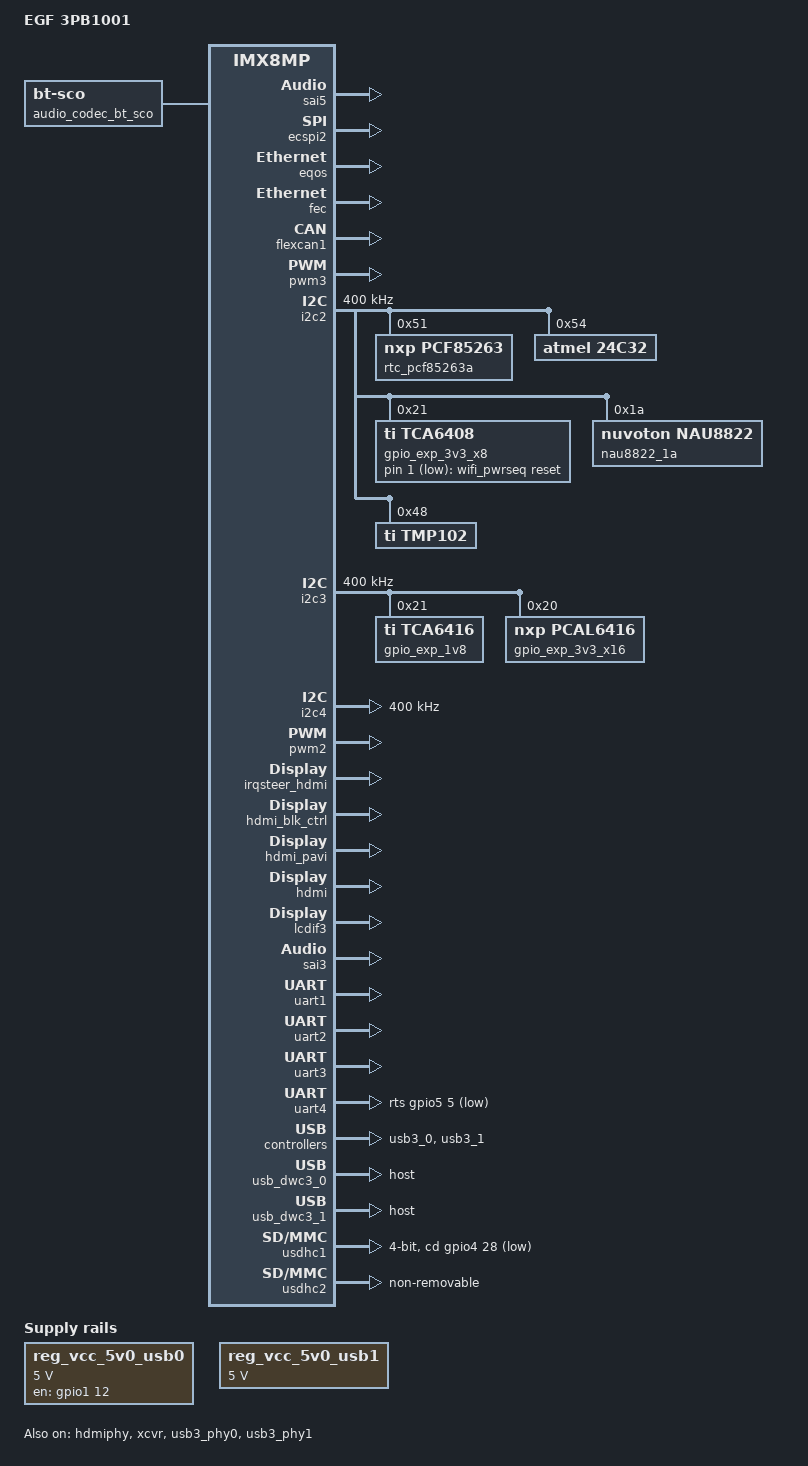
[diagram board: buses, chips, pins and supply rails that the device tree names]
// SPDX-License-Identifier: (GPL-2.0+ OR MIT)
/*
 * Copyright 2019 NXP
 */

 /dts-v1/;

 #include "imx8mp-egf-3sm1009.dtsi"
 
 / {
	 model = "EGF 3PB1001";


	reg_vcc_5v0_usb0: regulator-5v0-usb0 {
		compatible = "regulator-fixed";
		pinctrl-names = "default";
		pinctrl-0 = <&pinctrl_reg5v0_usb0>;
		regulator-name = "VCC_5V0_USB0";
		gpio = <&gpio1 12 GPIO_ACTIVE_HIGH>;
		regulator-min-microvolt = <5000000>;
		regulator-max-microvolt = <5000000>;
		enable-active-high;
	};
	
	reg_vcc_5v0_usb1: regulator-5v0-usb1 {
		compatible = "regulator-fixed";
		regulator-name = "VCC_5V0_USB1";
		regulator-min-microvolt = <5000000>;
		regulator-max-microvolt = <5000000>;
	};


	sound-hdmi {
		status = "okay";
	};

	sound-hdmi {
		compatible = "fsl,imx-audio-hdmi";
		model = "audio-hdmi";
		audio-cpu = <&aud2htx>;
		hdmi-out;
		constraint-rate = <44100>,
				<88200>,
				<176400>,
				<32000>,
				<48000>,
				<96000>,
				<192000>;
		status = "disabled";
	};


	sound-micfil {
		compatible = "fsl,imx-audio-micfil";
		model = "imx-audio-micfil";
		cpu-dai = <&micfil>;
	};

	sound-xcvr {
		compatible = "fsl,imx-audio-xcvr";
		model = "imx-audio-xcvr";
		cpu-dai = <&xcvr>;
	};


	sound {
		compatible = "simple-audio-card";
		simple-audio-card,bitclock-master = <&codec_dai>;
		simple-audio-card,format = "i2s";
		simple-audio-card,frame-master = <&codec_dai>;
		simple-audio-card,mclk-fs = <256>;
		simple-audio-card,name = "imx8mp-nau8822";
		simple-audio-card,routing =
			"Headphones", "LHP",
			"Headphones", "RHP",
			"Speaker", "LSPK",
			"Speaker", "RSPK",
			"Line Out", "AUXOUT1",
			"Line Out", "AUXOUT2",
			"LAUX", "Line In",
			"RAUX", "Line In",
			"LMICP", "Mic In",
			"RMICP", "Mic In";
		simple-audio-card,widgets =
			"Headphones", "Headphones",
			"Line Out", "Line Out",
			"Speaker", "Speaker",
			"Microphone", "Mic In",
			"Line", "Line In";

		codec_dai: simple-audio-card,codec {
			sound-dai = <&nau8822_1a>;
			clocks = <&audio_blk_ctrl IMX8MP_CLK_AUDIOMIX_SAI3_MCLK1>;
		};

		simple-audio-card,cpu {
			sound-dai = <&sai3>;
		};
					
	};
	
	// Audio I2S Modem
	// Codec "dummy"
	audio_codec_bt_sco: audio-codec-bt-sco {
		compatible = "linux,bt-sco";
		#sound-dai-cells = <1>;
	};

	sound-bt-sco {
		compatible = "simple-audio-card";
		simple-audio-card,name = "bt-sco-audio";
		simple-audio-card,format = "dsp_a";
		simple-audio-card,bitclock-inversion;
		simple-audio-card,frame-master = <&btcpu>;
		simple-audio-card,bitclock-master = <&btcpu>;

		btcpu: simple-audio-card,cpu {
			sound-dai = <&sai5>;
			dai-tdm-slot-num = <2>;
			dai-tdm-slot-width = <16>;
		};

		simple-audio-card,codec {
			sound-dai = <&audio_codec_bt_sco 1>;
		};
	};






	wifi_pwrseq: pwrseq {
		compatible = "mmc-pwrseq-simple";
		reset-gpios = <&gpio_exp_3v3_x8 1 GPIO_ACTIVE_LOW>;
	};



 };


 &sai5 {
	#sound-dai-cells = <0>;
	pinctrl-names = "default";
	pinctrl-0 = <&pinctrl_sai5>;
	assigned-clocks = <&clk IMX8MP_CLK_SAI5>;
	assigned-clock-parents = <&clk IMX8MP_AUDIO_PLL1_OUT>;
	assigned-clock-rates = <24576000>;
	clocks = <&audio_blk_ctrl IMX8MP_CLK_AUDIOMIX_SAI5_IPG>, <&clk IMX8MP_CLK_DUMMY>,
		<&audio_blk_ctrl IMX8MP_CLK_AUDIOMIX_SAI5_MCLK1>, <&clk IMX8MP_CLK_DUMMY>,
		<&clk IMX8MP_CLK_DUMMY>, <&clk IMX8MP_AUDIO_PLL1_OUT>,
		<&clk IMX8MP_AUDIO_PLL2_OUT>;
	clock-names = "bus", "mclk0", "mclk1", "mclk2", "mclk3", "pll8k", "pll11k";
	fsl,sai-mclk-direction-output;
	status = "okay";
};


//  ECSPI1 signals are used for BT Uart
&ecspi1 {
	status = "disabled";
};

// ECPSI2 on expansion connector
&ecspi2 {
	#address-cells = <1>;
	#size-cells = <0>;
	fsl,spi-num-chipselects = <1>;
	pinctrl-names = "default";
	pinctrl-0 = <&pinctrl_ecspi2 &pinctrl_ecspi2_cs>;
	cs-gpios = <&gpio5 13 GPIO_ACTIVE_LOW>;
	status = "okay";
};



&eqos {
	status = "okay";
};


&fec {
	status = "okay";
};



&flexcan1 {
	pinctrl-names = "default";
	pinctrl-0 = <&pinctrl_flexcan1>;
	status = "okay";
};


&pwm3 {
	status = "okay";
	pinctrl-names = "default";
	pinctrl-0 = <&pinctrl_pwm3>;
};



&i2c2 {
	clock-frequency = <400000>;
	pinctrl-names = "default";
	pinctrl-0 = <&pinctrl_i2c2>;
	status = "okay";

		// RTC carrier
		rtc_pcf85263a: rtc@51 {
			compatible = "nxp,pcf85263";
			reg = <0x51>;
		};
	
		// EEPROM carrier
		24c32@54 {
			compatible = "atmel,24c32";
			pinctrl-names = "default";
			pinctrl-0 = <&pinctrl_eeprom_carrier>;
			reg = <0x54>;
			pagesize = <32>;
		};
			
		gpio_exp_3v3_x8: gpio@21 {
			compatible = "ti,tca6408";
			reg = <0x21>;
			gpio-controller;
			#gpio-cells = <2>;
		};
		
		nau8822_1a: nau8822@1a {
			compatible = "nuvoton,nau8822";
			reg = <0x1a>;
			#sound-dai-cells = <0>;
			clocks = <&audio_blk_ctrl IMX8MP_CLK_AUDIOMIX_SAI3_MCLK1>;
			clock-names = "mclk";
		};
		
		// temp sensor
		tmp102@48 {
			reg = <0x48>;
			compatible = "ti,tmp102";
		};
};

&i2c3 {
	clock-frequency = <400000>;
	pinctrl-names = "default";
	pinctrl-0 = <&pinctrl_i2c3>;
	status = "okay";

	gpio_exp_1v8: gpio@21 {
		compatible = "ti,tca6416";
		reg = <0x21>;
		gpio-controller;
		#gpio-cells = <2>;
	};
	
	gpio_exp_3v3_x16: gpio@20 {	
		compatible = "nxp,pcal6416";
		#address-cells = <1>;
		#size-cells = <0>;
		gpio-controller;
		#gpio-cells = <2>;
		reg = <0x20>;
		status = "okay";
	};
};


&i2c4 {
	clock-frequency = <400000>;
	pinctrl-names = "default";
	pinctrl-0 = <&pinctrl_i2c4>;
	status = "okay"; 

};

&pwm2 {
	status = "okay";
	pinctrl-names = "default";
	pinctrl-0 = <&pinctrl_pwm2>;
};


&mipi_dsi {
	status = "disabled";
};


&irqsteer_hdmi {
	status = "okay";
};

&hdmi_blk_ctrl {
	status = "okay";
};

&hdmi_pavi {
	status = "okay";
};

&hdmi {
	status = "okay";
};

&hdmiphy {
	status = "okay";
};

/* MIPI-DSI */
&lcdif1 {
	status = "disabled";
};

/* LVDS */
&lcdif2 {
	status = "disabled";
};

/* HDMI */
&lcdif3 {
	status = "okay";

	thres-low  = <1 2>;             /* (FIFO * 1 / 2) */
	thres-high = <3 4>;             /* (FIFO * 3 / 4) */
};



&sai3 {
	#sound-dai-cells = <0>;
	pinctrl-names = "default";
	pinctrl-0 = <&pinctrl_sai3>;
	assigned-clocks = <&clk IMX8MP_CLK_SAI3>;
	assigned-clock-parents = <&clk IMX8MP_AUDIO_PLL1_OUT>;
	assigned-clock-rates = <24576000>;
	clocks = <&audio_blk_ctrl IMX8MP_CLK_AUDIOMIX_SAI3_IPG>, <&clk IMX8MP_CLK_DUMMY>,
		 <&audio_blk_ctrl IMX8MP_CLK_AUDIOMIX_SAI3_MCLK1>, <&clk IMX8MP_CLK_DUMMY>,
		 <&clk IMX8MP_CLK_DUMMY>;
	clock-names = "bus", "mclk0", "mclk1", "mclk2", "mclk3";
	fsl,sai-mclk-direction-output;
	status = "okay";
};


&xcvr {
	#sound-dai-cells = <0>;
	status = "okay";
};

&uart1 { 
	pinctrl-names = "default";
	pinctrl-0 = <&pinctrl_uart1>;
	assigned-clocks = <&clk IMX8MP_CLK_UART1>;
	assigned-clock-parents = <&clk IMX8MP_SYS_PLL1_80M>;
	uart-has-rtscts;
	status = "okay";
};


&uart2 {
	/* console */
	pinctrl-names = "default";
	pinctrl-0 = <&pinctrl_uart2>;
	status = "okay";
};

&uart3 {
	pinctrl-names = "default";
	pinctrl-0 = <&pinctrl_uart3>;
	assigned-clocks = <&clk IMX8MP_CLK_UART3>;
	assigned-clock-parents = <&clk IMX8MP_SYS_PLL1_80M>;
	uart-has-rtscts;
	status = "okay";

 /* WIP
	bluetooth {
		compatible = "nxp,88w8987-bt";
		fw-init-baudrate = <3000000>;
	};
	*/
};

&uart4 {
	pinctrl-names = "default";
	pinctrl-0 = <&pinctrl_uart4>;
	assigned-clocks = <&clk IMX8MP_CLK_UART4>;
	assigned-clock-parents = <&clk IMX8MP_SYS_PLL1_80M>;
	linux,rs485-enabled-at-boot-time;
	linux,rs485-rts-after-send;
	rts-gpios = <&gpio5 5 GPIO_ACTIVE_LOW>;
	status = "okay";

};


&sdma2 {
	status = "okay";
};

&usb3_phy0 {
	fsl,phy-tx-vref-tune = <0xe>;
	fsl,phy-tx-preemp-amp-tune = <3>;
	fsl,phy-tx-vboost-level = <5>;
	fsl,phy-comp-dis-tune = <7>;
	fsl,pcs-tx-deemph-3p5db = <0x21>;
	fsl,phy-pcs-tx-swing-full = <0x7f>;
	vbus-supply = <&reg_vcc_5v0_usb0>;
	status = "okay";
};

&usb3_0 {
	status = "okay";
};

&usb_dwc3_0 {
	dr_mode = "host";
	hnp-disable;
	srp-disable;
	adp-disable;
	snps,dis-u1-entry-quirk;
	snps,dis-u2-entry-quirk;
	status = "okay";
};



&usb3_phy1 {
	fsl,phy-tx-preemp-amp-tune = <3>;
	fsl,phy-tx-vref-tune = <0xb>;
	vbus-supply = <&reg_vcc_5v0_usb1>;
	status = "okay";
};

&usb3_1 {
	fsl,disable-port-power-control;
	fsl,permanently-attached;
	status = "okay";
};

&usb_dwc3_1 {
	dr_mode = "host";
	pinctrl-names = "default";
	pinctrl-0 = <&pinctrl_usb_hub>;
	status = "okay";
};


&usdhc1 {
	assigned-clocks = <&clk IMX8MP_CLK_USDHC1>;
	assigned-clock-rates = <400000000>;
	pinctrl-names = "default", "state_100mhz", "state_200mhz";
	pinctrl-0 = <&pinctrl_usdhc1>, <&pinctrl_usdhc1_gpio>;
	pinctrl-1 = <&pinctrl_usdhc1_100mhz>, <&pinctrl_usdhc1_gpio>;
	pinctrl-2 = <&pinctrl_usdhc1_200mhz>, <&pinctrl_usdhc1_gpio>;
	cd-gpios = <&gpio4 28 GPIO_ACTIVE_LOW>;
	bus-width = <4>;
	no-1-8-v;
	status = "okay";
};

&usdhc2 {
	assigned-clocks = <&clk IMX8MP_CLK_USDHC2>;
	pinctrl-names = "default";
	pinctrl-0 = <&pinctrl_usdhc2_egf_emi>;
	non-removable;
	keep-power-in-suspend;
	mmc-pwrseq = <&wifi_pwrseq>;
	max-frequency = <50000000>;
	status = "okay";
};



&iomuxc {
	pinctrl-names = "default";
	pinctrl-0 = <&pinctrl_egf>, <&pinctrl_hog>;

	pinctrl_egf: egfgrp {
		// gpio reset# LTE module
		fsl,pins = <
			MX8MP_IOMUXC_SAI5_MCLK__GPIO3_IO25         0x00000106
		>;
	};

	pinctrl_ts: tsgrp {
		fsl,pins = <
			MX8MP_IOMUXC_GPIO1_IO05__GPIO1_IO05          0x00000116       /* TS nINT */
		>;
	};

	pinctrl_sai5: sai5grp {
		fsl,pins = <
			MX8MP_IOMUXC_SAI2_RXC__AUDIOMIX_SAI5_TX_BCLK 0x00000106			/* BITCLOCK CPU => MODEM */
			MX8MP_IOMUXC_SAI5_RXD3__AUDIOMIX_SAI5_TX_DATA00 0x00000106		/* TX0  	CPU => MODEM */
			MX8MP_IOMUXC_SAI2_RXFS__AUDIOMIX_SAI5_TX_SYNC 0x00000106		/* TX_SYNC 	CPU => MODEM */
			MX8MP_IOMUXC_SAI5_RXD0__AUDIOMIX_SAI5_RX_DATA00 0x00000106		/* RX0  	MODEM => CPU */
		>;
	};



	pinctrl_flexcan1: flexcan1grp {
		fsl,pins = <
            MX8MP_IOMUXC_SAI5_RXD1__CAN1_TX          0x154
			MX8MP_IOMUXC_SAI5_RXD2__CAN1_RX          0x154
		>;
	};


    pinctrl_uart1: uart1grp {
		fsl,pins = <
			MX8MP_IOMUXC_UART1_RXD__UART1_DCE_RX	0x00000146
			MX8MP_IOMUXC_UART1_TXD__UART1_DCE_TX	0x00000146
            MX8MP_IOMUXC_UART3_RXD__UART1_DCE_CTS   0x00000146
            MX8MP_IOMUXC_UART3_TXD__UART1_DCE_RTS   0x00000146
		>;
	};


	pinctrl_uart2: uart2grp {
		fsl,pins = <
			MX8MP_IOMUXC_UART2_RXD__UART2_DCE_RX	0x00000146
			MX8MP_IOMUXC_UART2_TXD__UART2_DCE_TX	0x00000146
		>;
	};

	pinctrl_uart3: uart3grp {
		fsl,pins = <
			MX8MP_IOMUXC_ECSPI1_MISO__UART3_DCE_CTS    0x00000146
			MX8MP_IOMUXC_ECSPI1_MOSI__UART3_DCE_TX     0x00000146
			MX8MP_IOMUXC_ECSPI1_SCLK__UART3_DCE_RX     0x00000146
			MX8MP_IOMUXC_ECSPI1_SS0__UART3_DCE_RTS     0x00000146
		>;
	};
	
	pinctrl_uart4: uart4grp {
		fsl,pins = <
			MX8MP_IOMUXC_UART4_RXD__UART4_DCE_RX	0x00000146
			MX8MP_IOMUXC_UART4_TXD__UART4_DCE_TX	0x00000146
			MX8MP_IOMUXC_SPDIF_EXT_CLK__GPIO5_IO05	0x46
		>;
	};

	pinctrl_ecspi2: ecspi2grp {
		fsl,pins = <
			MX8MP_IOMUXC_ECSPI2_SCLK__ECSPI2_SCLK		0x82
			MX8MP_IOMUXC_ECSPI2_MOSI__ECSPI2_MOSI		0x82
			MX8MP_IOMUXC_ECSPI2_MISO__ECSPI2_MISO		0x82
		>;
	};

	pinctrl_ecspi2_cs: ecspi2cs {
		fsl,pins = <
			MX8MP_IOMUXC_ECSPI2_SS0__GPIO5_IO13		0x40000
		>;
	};

	pinctrl_sai3: sai3grp {
		fsl,pins = <
			MX8MP_IOMUXC_SAI3_TXFS__AUDIOMIX_SAI3_TX_SYNC	0xd6
			MX8MP_IOMUXC_SAI3_TXC__AUDIOMIX_SAI3_TX_BCLK	0xd6
			MX8MP_IOMUXC_SAI3_RXD__AUDIOMIX_SAI3_RX_DATA00	0xd6
			MX8MP_IOMUXC_SAI3_TXD__AUDIOMIX_SAI3_TX_DATA00	0xd6
			MX8MP_IOMUXC_SAI3_MCLK__AUDIOMIX_SAI3_MCLK	0xd6
		>;
	};


	pinctrl_usdhc1: usdhc1grp {
		fsl,pins = <
            MX8MP_IOMUXC_SD1_CLK__USDHC1_CLK	0x190
			MX8MP_IOMUXC_SD1_CMD__USDHC1_CMD	0x1d0
			MX8MP_IOMUXC_SD1_DATA0__USDHC1_DATA0	0x1d0
			MX8MP_IOMUXC_SD1_DATA1__USDHC1_DATA1	0x1d0
			MX8MP_IOMUXC_SD1_DATA2__USDHC1_DATA2	0x1d0
			MX8MP_IOMUXC_SD1_DATA3__USDHC1_DATA3	0x1d0
		>;
	};

	pinctrl_usdhc1_100mhz: usdhc1-100mhzgrp {
		fsl,pins = <
			MX8MP_IOMUXC_SD1_CLK__USDHC1_CLK	0x194
			MX8MP_IOMUXC_SD1_CMD__USDHC1_CMD	0x1d4
			MX8MP_IOMUXC_SD1_DATA0__USDHC1_DATA0	0x1d4
			MX8MP_IOMUXC_SD1_DATA1__USDHC1_DATA1	0x1d4
			MX8MP_IOMUXC_SD1_DATA2__USDHC1_DATA2	0x1d4
			MX8MP_IOMUXC_SD1_DATA3__USDHC1_DATA3	0x1d4
		>;
	};

	pinctrl_usdhc1_200mhz: usdhc1-200mhzgrp {
		fsl,pins = <
			MX8MP_IOMUXC_SD1_CLK__USDHC1_CLK	0x196
			MX8MP_IOMUXC_SD1_CMD__USDHC1_CMD	0x1d6
			MX8MP_IOMUXC_SD1_DATA0__USDHC1_DATA0	0x1d6
			MX8MP_IOMUXC_SD1_DATA1__USDHC1_DATA1	0x1d6
			MX8MP_IOMUXC_SD1_DATA2__USDHC1_DATA2	0x1d6
			MX8MP_IOMUXC_SD1_DATA3__USDHC1_DATA3	0x1d6
		>;
	};

	pinctrl_usdhc1_gpio: usdhc1gpiogrp {
		fsl,pins = <
			MX8MP_IOMUXC_SAI3_RXFS__GPIO4_IO28         0x00000106
		>;
	};

	pinctrl_usdhc2_egf_emi: usdhc2grp-egf-emi {
		fsl,pins = <
            MX8MP_IOMUXC_SD2_CLK__USDHC2_CLK		0x182
			MX8MP_IOMUXC_SD2_CMD__USDHC2_CMD		0x1c2
			MX8MP_IOMUXC_SD2_DATA0__USDHC2_DATA0	0x1c2
			MX8MP_IOMUXC_SD2_DATA1__USDHC2_DATA1	0x1c2
			MX8MP_IOMUXC_SD2_DATA2__USDHC2_DATA2	0x1c2
			MX8MP_IOMUXC_SD2_DATA3__USDHC2_DATA3	0x1c2
		>;
	};

	pinctrl_reg5v0_usb0: regusb0vbusgrp {
		fsl,pins = <MX8MP_IOMUXC_GPIO1_IO12__GPIO1_IO12        0x00000106>;
	};

	pinctrl_usb_hub: usb_hubgrp {
		fsl,pins = <MX8MP_IOMUXC_GPIO1_IO14__GPIO1_IO14        0x00000106>;
	};

	pinctrl_eeprom_carrier: eeprom_carrier_grp {
		fsl,pins = <
			MX8MP_IOMUXC_SAI2_MCLK__GPIO4_IO27	0x106
		>;
	};

	pinctrl_pwm3: pwm3grp {
		fsl,pins = <
			MX8MP_IOMUXC_SPDIF_TX__PWM3_OUT            0x00000106
		>;
	};

	pinctrl_pwm2: pwm2grp {
		fsl,pins = <
			MX8MP_IOMUXC_SPDIF_RX__PWM2_OUT			0x00000106
		>;
	};

	
};
